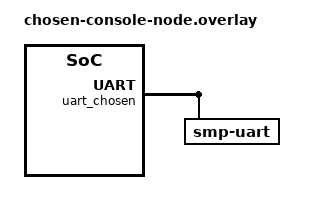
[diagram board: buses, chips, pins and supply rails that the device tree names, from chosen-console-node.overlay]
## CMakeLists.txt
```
# SPDX-FileCopyrightText: Copyright The Zephyr Project Contributors
# SPDX-License-Identifier: Apache-2.0

cmake_minimum_required(VERSION 3.28.0)
find_package(Zephyr REQUIRED HINTS $ENV{ZEPHYR_BASE})
project(transport_uart)

target_sources(app PRIVATE src/main.c src/smp_test_util.c)
target_include_directories(app PRIVATE ${ZEPHYR_BASE}/subsys/mgmt/mcumgr/transport/include/mgmt/mcumgr/transport/)
```

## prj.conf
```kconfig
# SPDX-FileCopyrightText: Copyright The Zephyr Project Contributors
# SPDX-License-Identifier: Apache-2.0

CONFIG_ZTEST=y
CONFIG_ZTEST_STACK_SIZE=2048
CONFIG_SERIAL=y
CONFIG_CONSOLE=y
CONFIG_NET_BUF=y
CONFIG_ZCBOR=y
CONFIG_MCUMGR=y
CONFIG_UART_MCUMGR=y
CONFIG_MCUMGR_GRP_OS=y
CONFIG_MCUMGR_GRP_OS_ECHO=y
```

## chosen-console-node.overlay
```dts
/*
 * SPDX-FileCopyrightText: Copyright The Zephyr Project Contributors
 *
 * SPDX-License-Identifier: Apache-2.0
 */

/*
 * Enabled zephyr,smp-uart node. The scenario disables the SMP over console (UART) transport,
 * so the raw UART transport must still use the chosen UART.
 */
&uart_chosen {
	smp-uart {
		compatible = "zephyr,smp-uart";
	};
};
```

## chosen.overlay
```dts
/*
 * SPDX-FileCopyrightText: Copyright The Zephyr Project Contributors
 *
 * SPDX-License-Identifier: Apache-2.0
 */

/ {
	chosen {
		zephyr,uart-mcumgr = &uart_chosen;
	};

	uart_chosen: uart-chosen {
		compatible = "vnd,serial";
		buffer-size = <1024>;
		status = "okay";
	};
};
```

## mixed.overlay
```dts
/*
 * SPDX-FileCopyrightText: Copyright The Zephyr Project Contributors
 *
 * SPDX-License-Identifier: Apache-2.0
 */

/ {
	uart_console0: uart-console0 {
		compatible = "vnd,serial";
		buffer-size = <1024>;
		status = "okay";

		smp-uart {
			compatible = "zephyr,smp-uart";
		};
	};

	uart_raw0: uart-raw0 {
		compatible = "vnd,serial";
		buffer-size = <1024>;
		status = "okay";

		smp-uart-raw {
			compatible = "zephyr,smp-uart-raw";
		};
	};
};
```

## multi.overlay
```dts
/*
 * SPDX-FileCopyrightText: Copyright The Zephyr Project Contributors
 *
 * SPDX-License-Identifier: Apache-2.0
 */

/ {
	uart_console1: uart-console1 {
		compatible = "vnd,serial";
		buffer-size = <1024>;
		status = "okay";

		smp-uart {
			compatible = "zephyr,smp-uart";
		};
	};

	uart_raw1: uart-raw1 {
		compatible = "vnd,serial";
		buffer-size = <1024>;
		status = "okay";

		smp-uart-raw {
			compatible = "zephyr,smp-uart-raw";
		};
	};
};
```

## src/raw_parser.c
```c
/*
 * SPDX-FileCopyrightText: Copyright The Zephyr Project Contributors
 *
 * SPDX-License-Identifier: Apache-2.0
 */

/*
 * Tests of mcumgr_serial_process_raw(), fed the way the UART driver delivers data: in chunks, with
 * each chunk processed until it has been consumed.
 */

#include <string.h>
#include <zephyr/net_buf.h>
#include <zephyr/sys/byteorder.h>
#include <zephyr/sys/util.h>
#include <zephyr/ztest.h>
#include <zephyr/mgmt/mcumgr/mgmt/mgmt.h>
#include <zephyr/mgmt/mcumgr/transport/serial.h>
#include <mgmt/mcumgr/transport/smp_internal.h>
#include "smp_test_util.h"

#define MAX_PACKETS      2
#define DATA_BUFFER_SIZE 256
/* Feed everything in one chunk */
#define WHOLE            SIZE_MAX

static struct mcumgr_serial_rx_ctxt rx_ctxt = {
#if defined(CONFIG_MCUMGR_TRANSPORT_SERIAL_HAS_SMP_OVER_CONSOLE) &&                                \
	defined(CONFIG_MCUMGR_TRANSPORT_SERIAL_HAS_RAW_BINARY_NON_SMP_OVER_CONSOLE)
	.raw_transport = true,
#endif
};

static struct net_buf *packets[MAX_PACKETS];
static int packet_count;

/* Feeds data in chunks of chunk_size bytes, collecting the completed packets */
static void feed(const uint8_t *data, size_t len, size_t chunk_size)
{
	while (len > 0) {
		size_t chunk_len = MIN(len, chunk_size);

		len -= chunk_len;

		while (chunk_len > 0) {
			struct net_buf *nb;
			size_t consumed;

			nb = mcumgr_serial_process_raw(&rx_ctxt, data, chunk_len, &consumed);
			zassert_true(consumed >= 1 && consumed <= chunk_len,
				     "Consumed %zu of %zu bytes", consumed, chunk_len);
			data += consumed;
			chunk_len -= consumed;

			if (nb != NULL) {
				zassert_true(packet_count < MAX_PACKETS, "Unexpected extra packet");
				packets[packet_count++] = nb;
			}
		}
	}
}

static void check_packet(int index, const uint8_t *expected, size_t len)
{
	zassert_true(index < packet_count, "Missing packet %d", index);
	zassert_equal(packets[index]->len, len, "Packet %d length mismatch", index);
	zassert_mem_equal(packets[index]->data, expected, len, "Packet %d content mismatch", index);
}

/* Builds two echo requests back to back, returning their combined length */
static size_t build_two_requests(uint8_t *data, size_t size, size_t *first_len)
{
	*first_len = smp_test_build_echo_request(data, size, "first", 1);

	return *first_len +
	       smp_test_build_echo_request(&data[*first_len], size - *first_len, "second", 2);
}

static void raw_parser_after(void *fixture)
{
	ARG_UNUSED(fixture);

	for (int i = 0; i < packet_count; i++) {
		smp_packet_free(packets[i]);
	}

	packet_count = 0;

	if (rx_ctxt.nb != NULL) {
		smp_packet_free(rx_ctxt.nb);
		rx_ctxt.nb = NULL;
	}
}

ZTEST(transport_uart_raw_parser, test_two_packets_one_chunk)
{
	uint8_t data[DATA_BUFFER_SIZE];
	size_t first_len;
	size_t len = build_two_requests(data, sizeof(data), &first_len);

	feed(data, len, WHOLE);

	zassert_equal(packet_count, 2, "Expected two packets");
	check_packet(0, data, first_len);
	check_packet(1, &data[first_len], len - first_len);
}

ZTEST(transport_uart_raw_parser, test_split_header)
{
	uint8_t data[DATA_BUFFER_SIZE];
	size_t len = smp_test_build_echo_request(data, sizeof(data), TEST_ECHO_STRING, 1);

	/* 3 byte chunks split the 8 byte header across three of them */
	feed(data, len, 3);

	zassert_equal(packet_count, 1, "Expected one packet");
	check_packet(0, data, len);
}

ZTEST(transport_uart_raw_parser, test_split_payload)
{
	uint8_t data[DATA_BUFFER_SIZE];
	size_t len = smp_test_build_echo_request(data, sizeof(data), TEST_ECHO_STRING, 1);

	feed(data, sizeof(struct smp_hdr) + 2, WHOLE);
	zassert_equal(packet_count, 0, "Expected no packet before the payload is complete");

	feed(&data[sizeof(struct smp_hdr) + 2], len - sizeof(struct smp_hdr) - 2, WHOLE);
	zassert_equal(packet_count, 1, "Expected one packet");
	check_packet(0, data, len);
}

ZTEST(transport_uart_raw_parser, test_byte_by_byte)
{
	uint8_t data[DATA_BUFFER_SIZE];
	size_t first_len;
	size_t len = build_two_requests(data, sizeof(data), &first_len);

	/* The way the UART driver used to deliver raw data */
	feed(data, len, 1);

	zassert_equal(packet_count, 2, "Expected two packets");
	check_packet(0, data, first_len);
	check_packet(1, &data[first_len], len - first_len);
}

ZTEST(transport_uart_raw_parser, test_chunk_sizes)
{
	uint8_t data[DATA_BUFFER_SIZE];
	size_t first_len;
	size_t len = build_two_requests(data, sizeof(data), &first_len);

	/* Every chunk size puts the packet boundaries at a different place within a chunk */
	for (size_t chunk_size = 1; chunk_size <= len; chunk_size++) {
		feed(data, len, chunk_size);

		zassert_equal(packet_count, 2, "Expected two packets with %zu byte chunks",
			      chunk_size);
		check_packet(0, data, first_len);
		check_packet(1, &data[first_len], len - first_len);
		raw_parser_after(NULL);
	}
}

ZTEST(transport_uart_raw_parser, test_invalid_header_resync)
{
	uint8_t data[DATA_BUFFER_SIZE];
	struct smp_hdr invalid = {
		/* Not a valid operation */
		.nh_op = 7,
		.nh_len = sys_cpu_to_be16(4),
	};
	size_t request_len;
	size_t consumed;

	BUILD_ASSERT(7 >= MGMT_OP_COUNT, "Operation 7 must be invalid");

	memcpy(data, &invalid, sizeof(invalid));
	request_len = smp_test_build_echo_request(
		&data[sizeof(invalid)], sizeof(data) - sizeof(invalid), TEST_ECHO_STRING, 1);

	/* The invalid header is dropped as a whole, on its last byte */
	zassert_is_null(mcumgr_serial_process_raw(&rx_ctxt, data, sizeof(invalid) + request_len,
						  &consumed));
	zassert_equal(consumed, sizeof(invalid), "Expected the invalid header to be consumed");
	zassert_is_null(rx_ctxt.nb, "Expected the invalid header to be dropped");

	/* Parsing restarts with the next byte */
	feed(&data[sizeof(invalid)], request_len, WHOLE);
	zassert_equal(packet_count, 1, "Expected one packet");
	check_packet(0, &data[sizeof(invalid)], request_len);
}

ZTEST(transport_uart_raw_parser, test_oversize)
{
	uint8_t data[DATA_BUFFER_SIZE];
	struct smp_hdr oversize = {
		.nh_op = MGMT_OP_READ,
		/* Longer than a packet buffer can hold */
		.nh_len = sys_cpu_to_be16(CONFIG_MCUMGR_TRANSPORT_NETBUF_SIZE),
	};
	size_t request_len;

	memcpy(data, &oversize, sizeof(oversize));
	request_len = smp_test_build_echo_request(
		&data[sizeof(oversize)], sizeof(data) - sizeof(oversize), TEST_ECHO_STRING, 1);
	feed(data, sizeof(oversize) + request_len, WHOLE);

	zassert_equal(packet_count, 1, "Expected only the valid packet");
	check_packet(0, &data[sizeof(oversize)], request_len);
}

ZTEST(transport_uart_raw_parser, test_empty_payload)
{
	struct smp_hdr empty = {
		.nh_op = MGMT_OP_READ,
		.nh_len = 0,
	};

	feed((const uint8_t *)&empty, sizeof(empty), WHOLE);

	zassert_equal(packet_count, 1, "Expected a packet with an empty payload");
	check_packet(0, (const uint8_t *)&empty, sizeof(empty));
}

ZTEST(transport_uart_raw_parser, test_no_data)
{
	uint8_t data = 0;
	size_t consumed = 1;

	zassert_is_null(mcumgr_serial_process_raw(&rx_ctxt, &data, 0, &consumed));
	zassert_equal(consumed, 0, "Expected nothing to be consumed");
}

ZTEST_SUITE(transport_uart_raw_parser, NULL, NULL, NULL, raw_parser_after, NULL);
```

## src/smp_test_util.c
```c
/*
 * Copyright (c) 2022-2026 Nordic Semiconductor ASA
 *
 * SPDX-License-Identifier: Apache-2.0
 */

#include "smp_test_util.h"
#include <zephyr/mgmt/mcumgr/grp/os_mgmt/os_mgmt.h>
#include <zephyr/mgmt/mcumgr/grp/transport_mgmt/transport_mgmt.h>
#include <zephyr/net_buf.h>
#include <zephyr/sys/byteorder.h>
#include <zcbor_encode.h>

/* SMP header function for generating MCUmgr command header with sequence number set to 1 */
static void smp_make_hdr(struct smp_hdr *rsp_hdr, uint16_t group, uint8_t op, size_t len,
			 uint8_t type)
{
	*rsp_hdr = (struct smp_hdr) {
		.nh_len = sys_cpu_to_be16(len),
		.nh_flags = 0,
		.nh_op = op,
		.nh_group = sys_cpu_to_be16(group),
		.nh_seq = 1,
		.nh_id = type,
		.nh_version = 1,
	};
}

bool create_os_mgmt_echo_packet(zcbor_state_t *zse, uint8_t *buffer, uint8_t *output_buffer,
				uint16_t *buffer_size, char *data)
{
	bool ok;

	ok = zcbor_map_start_encode(zse, CBOR_MAP_STATES) &&
	     zcbor_tstr_put_lit(zse, "d")  &&
	     zcbor_tstr_put_term(zse, data, CONFIG_ZCBOR_MAX_STR_LEN) &&
	     zcbor_map_end_encode(zse, CBOR_MAP_STATES);

	*buffer_size = (zse->payload_mut - buffer);
	smp_make_hdr((struct smp_hdr *)output_buffer, MGMT_GROUP_ID_OS, MGMT_OP_READ, *buffer_size,
		     OS_MGMT_ID_ECHO);
	memcpy(&output_buffer[sizeof(struct smp_hdr)], buffer, *buffer_size);
	*buffer_size += sizeof(struct smp_hdr);

	return ok;
}

bool create_os_mgmt_echo_response_packet(zcbor_state_t *zse, uint8_t *buffer,
					 uint8_t *output_buffer, uint16_t *buffer_size, char *data)
{
	bool ok;

	ok = zcbor_map_start_encode(zse, CBOR_MAP_STATES) &&
	     zcbor_tstr_put_lit(zse, "d")  &&
	     zcbor_tstr_put_term(zse, data, CONFIG_ZCBOR_MAX_STR_LEN) &&
	     zcbor_map_end_encode(zse, CBOR_MAP_STATES);

	*buffer_size = (zse->payload_mut - buffer);
	smp_make_hdr((struct smp_hdr *)output_buffer, MGMT_GROUP_ID_OS, MGMT_OP_READ_RSP,
		     *buffer_size, OS_MGMT_ID_ECHO);
	memcpy(&output_buffer[sizeof(struct smp_hdr)], buffer, *buffer_size);
	*buffer_size += sizeof(struct smp_hdr);

	return ok;
}

bool create_transport_mgmt_connect_packet(zcbor_state_t *zse, uint8_t *buffer,
					  uint8_t *output_buffer, uint16_t *buffer_size,
					  uint8_t transport_id)
{
	bool ok;

	ok = zcbor_map_start_encode(zse, CBOR_MAP_STATES) &&
	     zcbor_tstr_put_lit(zse, "transport")  &&
	     zcbor_uint32_put(zse, transport_id) &&
	     zcbor_map_end_encode(zse, CBOR_MAP_STATES);

	*buffer_size = (zse->payload_mut - buffer);
	smp_make_hdr((struct smp_hdr *)output_buffer, MGMT_GROUP_ID_TRANSPORT, MGMT_OP_WRITE,
		     *buffer_size, TRANSPORT_MGMT_ID_CONNECT);
	memcpy(&output_buffer[sizeof(struct smp_hdr)], buffer, *buffer_size);
	*buffer_size += sizeof(struct smp_hdr);

	return ok;
}
```

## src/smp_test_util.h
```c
/*
 * Copyright (c) 2026 Nordic Semiconductor ASA
 *
 * SPDX-License-Identifier: Apache-2.0
 */

#ifndef H_SMP_TEST_UTIL_
#define H_SMP_TEST_UTIL_

#include <zephyr/ztest.h>
#include <zephyr/mgmt/mcumgr/mgmt/mgmt.h>
#include <zcbor_common.h>
#include <smp_internal.h>

#ifdef CONFIG_ZCBOR_CANONICAL
#define CBOR_MAP_STATES 3
#else
#define CBOR_MAP_STATES 2
#endif

/* Function for creating an os_mgmt echo command */
bool create_os_mgmt_echo_packet(zcbor_state_t *zse, uint8_t *buffer, uint8_t *output_buffer,
				uint16_t *buffer_size, char *data);

/* Function for creating an os_mgmt echo response */
bool create_os_mgmt_echo_response_packet(zcbor_state_t *zse, uint8_t *buffer,
					 uint8_t *output_buffer, uint16_t *buffer_size,
					 char *data);

/* Function for creating a transport_mgmt connect command */
bool create_transport_mgmt_connect_packet(zcbor_state_t *zse, uint8_t *buffer,
					  uint8_t *output_buffer, uint16_t *buffer_size,
					  uint8_t transport_id);

#endif
```
